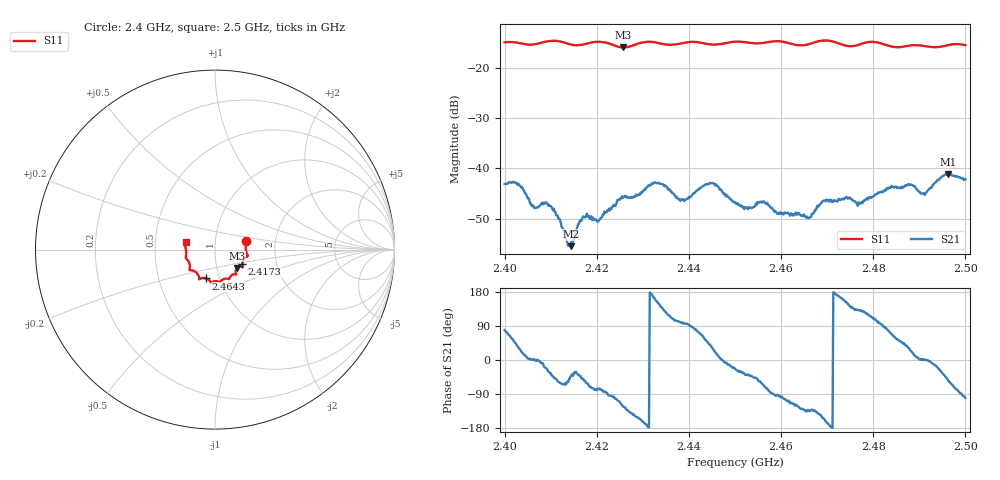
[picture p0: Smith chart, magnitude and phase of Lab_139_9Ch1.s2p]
# Hz S RI R 50
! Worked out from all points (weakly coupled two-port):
!   601 points, 2.4 GHz to 2.5 GHz, reference 50 ohm
!   highest |S21| = -41.08 dB at 2.4962 GHz (marker M1); lowest = -55.5 dB at 2.4143 GHz (marker M2)
!   lowest |S11| = -15.9 dB at 2.4257 GHz (marker M3), VSWR 1.38, Z = 62.5 - j13.2 ohm
!   |S11| at or under -10 dB: start of sweep to end of sweep
!   S12 and S22 are empty: the file has one direction only
!   S11 on the Smith chart (normalised r, x): 2.4 GHz: 1.41, +0.14; 2.4173 GHz: 1.34, -0.23; 2.4643 GHz: 0.86, -0.28; 2.5 GHz: 0.72, +0.06
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2.4e9  0.1736 0.0485  0.00136 0.00687  0 0  0 0
2.402833e9  0.1751 0.0352  0.00556 0.00401  0 0  0 0
2.406333e9  0.1716 -0.00267  0.00411 0.000172  0 0  0 0
2.410167e9  0.1836 -0.0338  0.00317 -0.00265  0 0  0 0
2.414333e9  0.164 -0.0498  0.00123 -0.00115  0 0  0 0
2.416667e9  0.1529 -0.0746  0.00201 -0.00225  0 0  0 0
2.417333e9  0.1518 -0.0821  0.00188 -0.00268  0 0  0 0
2.4205e9  0.1541 -0.0978  0.000679 -0.00297  0 0  0 0
2.425667e9  0.1229 -0.1026  -0.00272 -0.00431  0 0  0 0
2.433333e9  0.1123 -0.1373  -0.0062 0.00355  0 0  0 0
2.438667e9  0.0808 -0.1578  -0.00056 0.00492  0 0  0 0
2.445e9  0.0555 -0.1621  0.00599 0.00389  0 0  0 0
2.45e9  0.0284 -0.1808  0.00425 -0.00175  0 0  0 0
2.464333e9  -0.0498 -0.1605  -0.00213 -0.00264  0 0  0 0
2.466667e9  -0.076 -0.1591  -0.00231 -0.00265  0 0  0 0
2.4695e9  -0.0885 -0.166  -0.00447 -0.00177  0 0  0 0
2.477167e9  -0.1278 -0.1156  -0.0029 0.00339  0 0  0 0
2.483333e9  -0.1403 -0.0899  0.0015 0.00616  0 0  0 0
2.488e9  -0.16 -0.0506  0.00616 0.00302  0 0  0 0
2.491e9  -0.1624 -0.0345  0.00567 0.000143  0 0  0 0
2.496167e9  -0.1673 0.0212  0.0054 -0.00699  0 0  0 0
2.5e9  -0.1634 0.0424  -0.00134 -0.00767  0 0  0 0
